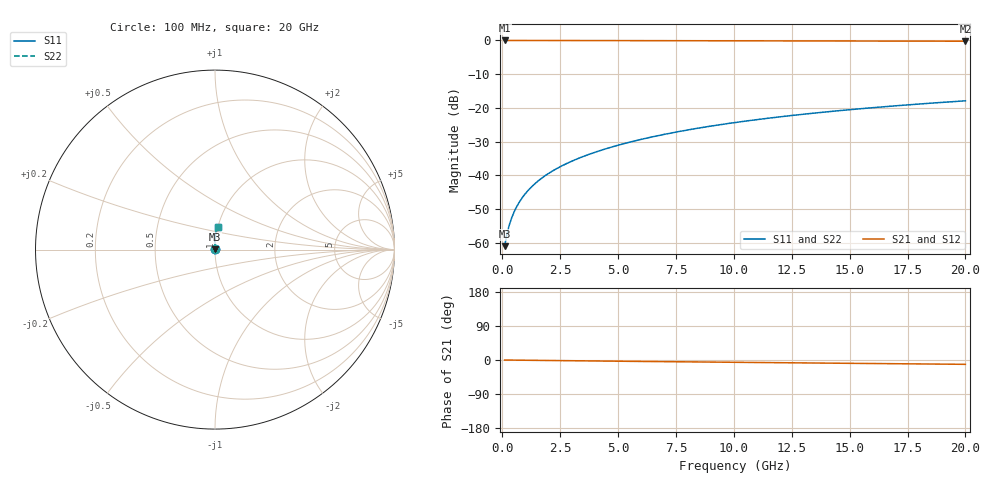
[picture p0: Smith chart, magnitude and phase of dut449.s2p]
! Touchstone file exported from HFSS 2024.1.0
!  File:  C:/UserFiles/LocalFiles/RDL_TSV_Batchsim/temp_RDL_bottom_449_1779684992.aedt
!  Generated:  12:58:48 PM May 25, 2026
!  Design:  RDL_bottom
!  Project:  temp_RDL_bottom_449_1779684992
!  Setup:  Setup1
!  Solution:  Sweep
! Variables:
!  dtsv = 10.80580581um
!  hbump = 3um
!  htsv = 62.8um
!  ldown = 131.34um
!  lrdl = 100um
!  p = 40
!  p1 = 52.81um
!  rhole = 1um
!  t = 450um
!  tdown = 3.92um
!  trdl = 3.915915916um
!  wdown = 25.76um
!  wrdl = 20um
# GHz S MA R 50.000000
! Terminal data exported
! Port[1] = RDL1_T1
! Port[2] = RDL1_T2
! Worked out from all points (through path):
!   200 points, 100 MHz to 20 GHz, reference 50 ohm
!   highest |S21| = -0.01 dB at 100 MHz (marker M1); lowest = -0.2 dB at 20 GHz (marker M2)
!   group delay of S21, straight-line fit = 1.56 ps
!   lowest |S11| = -61.0 dB at 100 MHz (marker M3), VSWR 1.00, Z = 50.1 + j0.0582 ohm
!   |S11| at or under -10 dB: start of sweep to end of sweep
!   |S22| runs from -61.0 to -17.9 dB; largest |S21 - S12| = 4.9e-15
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0.1  0.0008916 40.7  0.9993 -0.1  0.9993 -0.1  0.0008916 40.7
! Gamma 0 0 0 0
! Port Impedance 50 0 50 0
0.2  0.001341 58.0  0.9993 -0.1  0.9993 -0.1  0.001341 58.0
0.3  0.001827 66.0  0.9992 -0.2  0.9992 -0.2  0.001827 66.0
0.4  0.00232 70.9  0.9992 -0.3  0.9992 -0.3  0.00232 70.9
0.5  0.002818 74.2  0.9991 -0.3  0.9991 -0.3  0.002818 74.2
0.6  0.003322 76.6  0.9991 -0.4  0.9991 -0.4  0.003322 76.6
0.8  0.004341 80.0  0.999 -0.5  0.999 -0.5  0.004341 80.0
1.1  0.005896 83.1  0.9989 -0.7  0.9989 -0.7  0.005896 83.1
1.5  0.008003 85.6  0.9986 -1.0  0.9986 -1.0  0.008003 85.6
1.8  0.009606 86.9  0.9984 -1.2  0.9984 -1.2  0.009606 86.9
2.1  0.01123 87.8  0.9981 -1.4  0.9981 -1.4  0.01123 87.8
2.7  0.01453 89.2  0.9975 -1.8  0.9975 -1.8  0.01453 89.2
3.5  0.01906 90.5  0.9966 -2.3  0.9966 -2.3  0.01906 90.5
4.2  0.02315 91.1  0.9956 -2.7  0.9956 -2.7  0.02315 91.1
5  0.02796 91.6  0.9944 -3.2  0.9944 -3.2  0.02796 91.6
5.9  0.03354 91.8  0.993 -3.7  0.993 -3.7  0.03354 91.8
6.8  0.03925 91.8  0.9916 -4.3  0.9916 -4.3  0.03925 91.8
8.4  0.04968 91.3  0.9892 -5.2  0.9892 -5.2  0.04969 91.3
10.1  0.06101 90.5  0.9867 -6.1  0.9867 -6.1  0.06101 90.5
13.4  0.08325 88.3  0.9823 -7.9  0.9823 -7.9  0.08325 88.3
16.7  0.1054 86.0  0.9781 -9.7  0.9781 -9.7  0.1055 86.0
20  0.1274 83.7  0.974 -11.4  0.974 -11.4  0.1274 83.7
